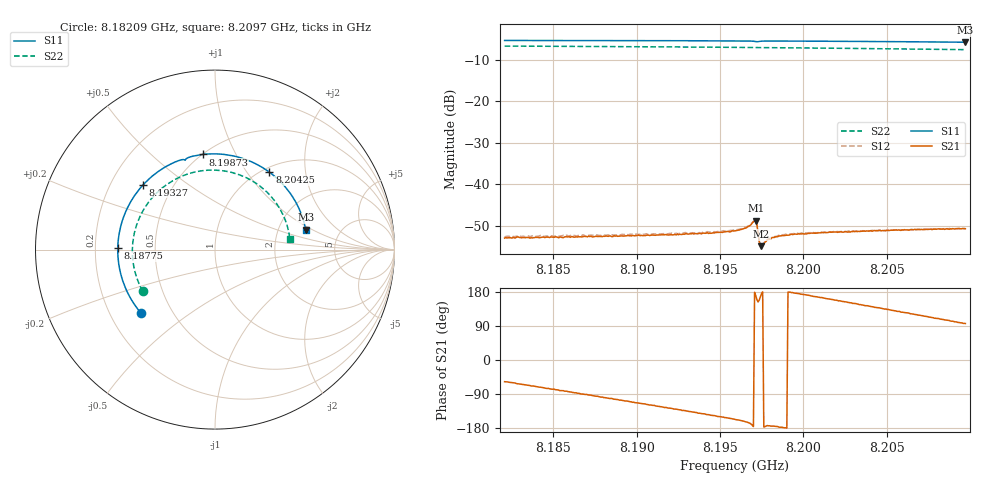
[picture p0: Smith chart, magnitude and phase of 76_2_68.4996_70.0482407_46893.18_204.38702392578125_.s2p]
#  HZ  S  RI  R  50.00
! Rohde & Schwarz Vector Network Analyzer
! Rohde-Schwarz,ZNB20-2Port,1311601062101988,3.16
! Created: UTC 3/20/2024, 5:07:06 PM
! freq[Hz]  re:S11  im:S11  re:S21  im:S21  re:S12  im:S12  re:S22  im:S22
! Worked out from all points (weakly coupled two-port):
!   401 points, 8.18209 GHz to 8.2097 GHz, reference 50 ohm
!   highest |S21| = -48.76 dB at 8.19714 GHz (marker M1); lowest = -54.9 dB at 8.19749 GHz (marker M2)
!   lowest |S11| = -5.7 dB at 8.2097 GHz (marker M3), VSWR 3.14, Z = 142 + j43.3 ohm
!   |S11| at or under -10 dB: nowhere
!   |S22| runs from -7.5 to -6.7 dB; largest |S21 - S12| = 0.00017
!   S11 on the Smith chart (normalised r, x): 8.18209 GHz: 0.33, -0.33; 8.18775 GHz: 0.30, +0.01; 8.19327 GHz: 0.34, +0.35; 8.19873 GHz: 0.50, +0.75; 8.20425 GHz: 1.07, +1.28; 8.2097 GHz: 2.85, +0.87
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8.182092e9  -0.4127 -0.3533  0.00122 -0.00189  0.00122 -0.00197  -0.4028 -0.232
8.184508e9  -0.5 -0.2107  0.000627 -0.00219  0.00062 -0.00227  -0.45 -0.1063
8.186717e9  -0.5386 -0.0621  3.66e-06 -0.00232  -7.93e-06 -0.0024  -0.4598 0.0158
8.187752e9  -0.5416 0.0102  -0.000282 -0.00234  -0.000365 -0.00239  -0.4533 0.073
8.189547e9  -0.5241 0.1342  -0.000803 -0.00226  -0.00086 -0.00232  -0.4249 0.1684
8.191342e9  -0.4783 0.251  -0.00131 -0.00207  -0.0014 -0.00209  -0.3764 0.2556
8.193275e9  -0.3998 0.3616  -0.00184 -0.00173  -0.00192 -0.00171  -0.304 0.335
8.195898e9  -0.2534 0.4733  -0.00253 -0.00108  -0.00263 -0.00104  -0.179 0.4113
8.196588e9  -0.2078 0.4937  -0.00287 -0.000848  -0.00298 -0.000742  -0.1425 0.4241
8.197002e9  -0.1771 0.5016  -0.00353 -0.000263  -0.00357 -0.000156  -0.1198 0.4305
8.197071e9  -0.1716 0.5011  -0.00364 8.5e-05  -0.00368 0.000244  -0.116 0.431
8.19714e9  -0.1673 0.4992  -0.00359 0.000637  -0.00362 0.000801  -0.1123 0.4318
8.197416e9  -0.16 0.5066  -0.00176 0.000427  -0.00179 0.000469  -0.0973 0.4352
8.197485e9  -0.1553 0.5096  -0.00179 0.000161  -0.00183 0.000241  -0.0934 0.4359
8.197969e9  -0.1203 0.521  -0.00217 -0.000244  -0.00223 -0.000139  -0.0663 0.4402
8.198728e9  -0.0664 0.5303  -0.0024 -0.000109  -0.00246 1.06e-05  -0.0234 0.443
8.200523e9  0.0605 0.529  -0.00253 0.000505  -0.00255 0.000596  0.0782 0.4333
8.202386e9  0.1877 0.4958  -0.00238 0.00115  -0.00239 0.00127  0.1787 0.3985
8.20425e9  0.3028 0.4318  -0.00209 0.00182  -0.00203 0.00186  0.2684 0.3394
8.205148e9  0.3516 0.3911  -0.00187 0.00205  -0.0018 0.00214  0.3063 0.303
8.207495e9  0.4527 0.2593  -0.00115 0.00262  -0.00109 0.00266  0.382 0.1879
8.209704e9  0.5052 0.1114  -0.000319 0.00289  -0.000221 0.00293  0.4166 0.0606
